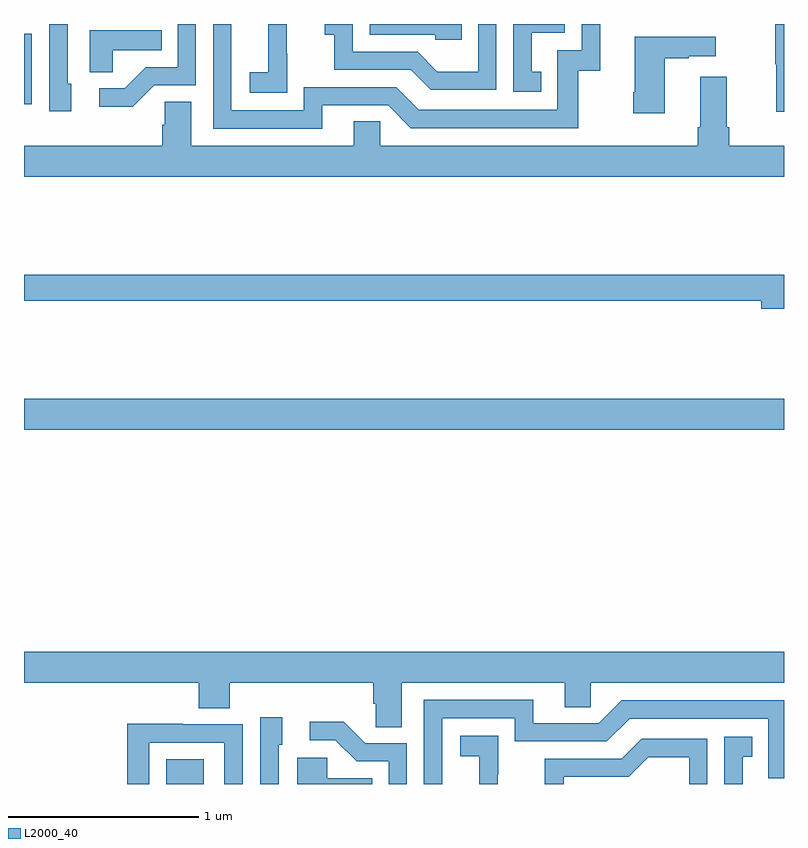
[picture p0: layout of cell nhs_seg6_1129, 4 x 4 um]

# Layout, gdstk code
import gdstk
lib = gdstk.Library(unit=1e-6, precision=1e-09)
def R(c, l, rs):  # rectangles x0, y0, x1, y1
    for r in rs: c.add(gdstk.rectangle(r[:2], r[2:], *l))
def P(c, l, *ps):  # polygons
    for p in ps: c.add(gdstk.Polygon(p, *l))
L2000_40 = (2000, 40)

nhs_seg6_1129 = lib.new_cell('nhs_seg6_1129')
R(nhs_seg6_1129, L2000_40, [(181.748,917.5,181.945,917.629), (181,919.364,185,919.528), (181,921.078,181.041,921.448)])
P(nhs_seg6_1129, L2000_40, [(185,921.5),(184.953,921.5),(184.953,921.288),(184.96,921.288),(184.96,921.039),(185,921.039)],
  [(183.486,921.5),(183.39,921.5),(183.39,921.25),(183.176,921.25),(183.072,921.354),(182.73,921.354),(182.73,921.5),(182.583,921.5),(182.583,921.443),(182.632,921.443),(182.632,921.258),(183.035,921.258),(183.14,921.153),(183.486,921.153)],
  [(182.569,921.072),(182.916,921.072),(183.036,920.952),(183.916,920.952),(183.916,921.255),(184.034,921.255),(184.034,921.5),(183.936,921.5),(183.936,921.363),(183.807,921.363),(183.807,921.048),(183.078,921.048),(182.958,921.168),(182.472,921.168),(182.472,921.045),(182.091,921.045),(182.091,921.5),(181.995,921.5),(181.995,920.949),(182.569,920.949)],
  [(181.249,921.186),(181.23,921.186),(181.23,921.5),(181.134,921.5),(181.134,921.042),(181.249,921.042)],
  [(181.686,921.177),(181.905,921.177),(181.905,921.5),(181.809,921.5),(181.809,921.273),(181.64,921.273),(181.529,921.162),(181.395,921.162),(181.395,921.065),(181.573,921.065)],
  [(182.385,921.343),(182.384,921.343),(182.384,921.5),(182.286,921.5),(182.286,921.476),(182.285,921.476),(182.285,921.247),(182.187,921.247),(182.187,921.137),(182.385,921.137)],
  [(183.305,921.5),(182.82,921.5),(182.82,921.444),(183.165,921.444),(183.165,921.417),(183.305,921.417)],
  [(183.722,921.249),(183.673,921.249),(183.673,921.453),(183.846,921.453),(183.846,921.5),(183.576,921.5),(183.576,921.144),(183.722,921.144)],
  [(181.467,921.362),(181.724,921.362),(181.724,921.466),(181.346,921.466),(181.346,921.247),(181.467,921.247)],
  [(184.372,921.319),(184.499,921.319),(184.499,921.329),(184.642,921.329),(184.642,921.433),(184.214,921.433),(184.214,921.142),(184.207,921.142),(184.207,921.03),(184.372,921.03)],
  [(185,920.86),(184.712,920.86),(184.712,920.956),(184.699,920.956),(184.699,921.223),(184.559,921.223),(184.559,920.956),(184.547,920.956),(184.547,920.86),(182.874,920.86),(182.874,920.987),(182.735,920.987),(182.735,920.86),(181.879,920.86),(181.879,921.092),(181.74,921.092),(181.74,920.969),(181.727,920.969),(181.727,920.86),(181,920.86),(181,920.696),(185,920.696)],
  [(185,920.18),(181,920.18),(181,920.044),(184.88,920.044),(184.88,920.002),(185,920.002)],
  [(182.989,918.032),(183.845,918.032),(183.845,917.905),(183.984,917.905),(183.984,918.032),(185,918.032),(185,918.196),(181,918.196),(181,918.032),(181.919,918.032),(181.919,917.899),(182.084,917.899),(182.084,918.032),(182.837,918.032),(182.837,917.923),(182.85,917.923),(182.85,917.8),(182.989,917.8)],
  [(183.201,917.847),(183.582,917.847),(183.582,917.724),(184.068,917.724),(184.188,917.844),(184.917,917.844),(184.917,917.529),(185,917.529),(185,917.94),(184.146,917.94),(184.026,917.82),(183.679,917.82),(183.679,917.943),(183.105,917.943),(183.105,917.5),(183.201,917.5)],
  [(182.34,917.706),(182.359,917.706),(182.359,917.851),(182.244,917.851),(182.244,917.5),(182.34,917.5)],
  [(183.015,917.715),(182.796,917.715),(182.683,917.828),(182.505,917.828),(182.505,917.73),(182.639,917.73),(182.75,917.619),(182.919,917.619),(182.919,917.5),(183.015,917.5)],
  [(181.659,917.718),(182.055,917.718),(182.055,917.5),(182.151,917.5),(182.151,917.814),(181.835,917.814),(181.835,917.816),(181.543,917.816),(181.543,917.5),(181.659,917.5)],
  [(183.494,917.549),(183.495,917.549),(183.495,917.755),(183.297,917.755),(183.297,917.645),(183.395,917.645),(183.395,917.5),(183.494,917.5)],
  [(184.783,917.643),(184.832,917.643),(184.832,917.749),(184.686,917.749),(184.686,917.5),(184.783,917.5)],
  [(183.84,917.538),(184.182,917.538),(184.286,917.642),(184.5,917.642),(184.5,917.5),(184.596,917.5),(184.596,917.739),(184.25,917.739),(184.145,917.634),(183.742,917.634),(183.742,917.5),(183.84,917.5)],
  [(182.834,917.53),(182.595,917.53),(182.595,917.638),(182.438,917.638),(182.438,917.5),(182.834,917.5)])

lib.write_gds('nhs_seg6_1129.gds')
